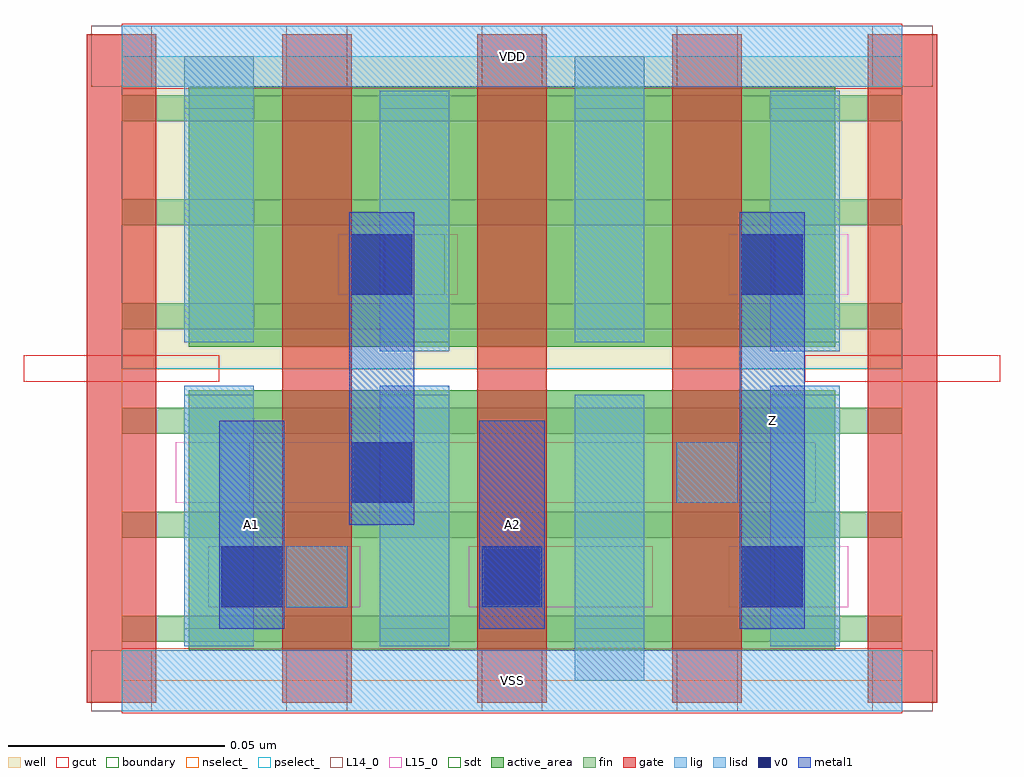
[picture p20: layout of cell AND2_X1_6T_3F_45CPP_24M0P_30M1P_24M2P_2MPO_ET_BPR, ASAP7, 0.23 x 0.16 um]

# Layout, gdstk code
import gdstk
lib = gdstk.Library(unit=1e-6, precision=2.5e-10)
def R(c, l, rs):  # rectangles x0, y0, x1, y1
    for r in rs: c.add(gdstk.rectangle(r[:2], r[2:], *l))
def A(c, l, x, y, w, h, nx, ny, dx, dy):  # array of equal rectangles
    R(c, l, [(x+i*dx, y+j*dy, x+i*dx+w, y+j*dy+h) for i in range(nx) for j in range(ny)])
well = (1, 0)
fin = (2, 0)
gate = (7, 0)
gcut = (10, 0)
active_area = (11, 0)
nselect_ = (12, 0)
pselect_ = (13, 0)
L14_0 = (14, 0)
L15_0 = (15, 0)
lig = (16, 0)
lisd = (17, 0)
v0 = (18, 0)
metal1 = (19, 0)
sdt = (88, 0)
boundary = (100, 0)

and2_x1_6t_3f_45cpp_24m0 = lib.new_cell('AND2_X1_6T_3F_45CPP_24M0P_30M1P_24M2P_2MPO_ET_BPR')
R(and2_x1_6t_3f_45cpp_24m0, well, [(0,0.072,0.18,0.144)])
A(and2_x1_6t_3f_45cpp_24m0, fin, 0, 0.009, 0.18, 0.006, 1, 6, 0, 0.024)
A(and2_x1_6t_3f_45cpp_24m0, gate, -0.008, -0.005, 0.016, 0.154, 5, 1, 0.045, 0)
R(and2_x1_6t_3f_45cpp_24m0, gcut, [(0,-0.0075,0.18,0.0075), (-0.0225,0.069,0.0225,0.075), (0.1575,0.069,0.2025,0.075), (0,0.1365,0.18,0.1515)])
A(and2_x1_6t_3f_45cpp_24m0, active_area, 0.0155, 0.007, 0.059, 0.06, 3, 2, 0.045, 0.07)
R(and2_x1_6t_3f_45cpp_24m0, nselect_, [(0,0,0.18,0.072)])
R(and2_x1_6t_3f_45cpp_24m0, pselect_, [(0,0.072,0.18,0.144)])
A(and2_x1_6t_3f_45cpp_24m0, L14_0, -0.007, -0.007, 0.014, 0.014, 5, 2, 0.045, 0.144)
R(and2_x1_6t_3f_45cpp_24m0, L14_0, [(0.038,0.017,0.052,0.031), (0.083,0.017,0.097,0.031), (0.1505,0.017,0.1645,0.031), (0.0155,0.041,0.0295,0.055), (0.128,0.041,0.142,0.055), (0.0605,0.089,0.0745,0.103), (0.1505,0.089,0.1645,0.103)])
R(and2_x1_6t_3f_45cpp_24m0, L15_0, [(0,-0.007,0.18,0.007), (0.02,0.017,0.055,0.031), (0.08,0.017,0.1225,0.031), (0.14,0.017,0.1675,0.031), (0.0125,0.041,0.16,0.055), (0.05,0.089,0.0775,0.103), (0.14,0.089,0.1675,0.103), (0,0.137,0.18,0.151)])
R(and2_x1_6t_3f_45cpp_24m0, lig, [(0,-0.007,0.18,0.007), (0.038,0.017,0.052,0.031), (0.083,0.017,0.097,0.031), (0.128,0.041,0.142,0.055), (0,0.137,0.18,0.151)])
R(and2_x1_6t_3f_45cpp_24m0, lisd, [(0.1045,0,0.1205,0.066), (0.0145,0.008,0.0305,0.068), (0.0595,0.008,0.0755,0.068), (0.1495,0.008,0.1655,0.068), (0.0595,0.076,0.0755,0.136), (0.1495,0.076,0.1655,0.136), (0.0145,0.078,0.0305,0.144), (0.1045,0.078,0.1205,0.144)])
A(and2_x1_6t_3f_45cpp_24m0, v0, 0.023, 0.017, 0.014, 0.014, 3, 1, 0.06, 0)
R(and2_x1_6t_3f_45cpp_24m0, v0, [(0.053,0.041,0.067,0.055), (0.053,0.089,0.067,0.103), (0.143,0.089,0.157,0.103)])
R(and2_x1_6t_3f_45cpp_24m0, metal1, [(0.0225,0.012,0.0375,0.06), (0.0825,0.012,0.0975,0.06), (0.1425,0.012,0.1575,0.108), (0.0525,0.036,0.0675,0.108)])
A(and2_x1_6t_3f_45cpp_24m0, sdt, 0.0145, 0.012, 0.016, 0.054, 4, 2, 0.045, 0.066)
R(and2_x1_6t_3f_45cpp_24m0, boundary, [(0,0,0.18,0.144)])
and2_x1_6t_3f_45cpp_24m0.add(gdstk.Label('Z', (0.15,0.06), layer=19, texttype=251))
and2_x1_6t_3f_45cpp_24m0.add(gdstk.Label('A1', (0.03,0.036), layer=19, texttype=251))
and2_x1_6t_3f_45cpp_24m0.add(gdstk.Label('A2', (0.09,0.036), layer=19, texttype=251))
and2_x1_6t_3f_45cpp_24m0.add(gdstk.Label('VDD', (0.09,0.144), layer=15, texttype=251))
and2_x1_6t_3f_45cpp_24m0.add(gdstk.Label('VSS', (0.09,0), layer=15, texttype=251))
and2_x1_6t_3f_45cpp_24m0.add(gdstk.Label('VDD', (0.09,0.144), layer=1, texttype=251))
and2_x1_6t_3f_45cpp_24m0.add(gdstk.Label('VSS', (0.09,0), layer=3, texttype=251))

lib.write_gds('AND2_X1_6T_3F_45CPP_24M0P_30M1P_24M2P_2MPO_ET_BPR.gds')
